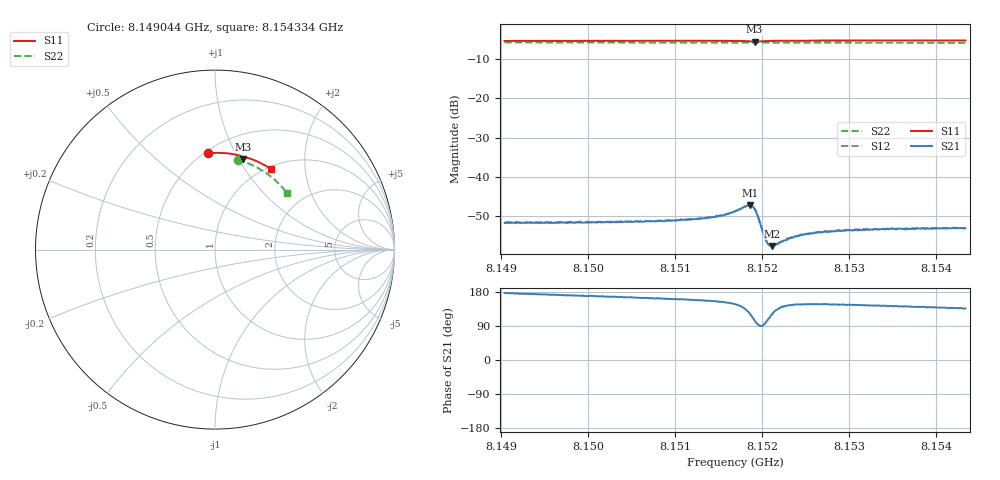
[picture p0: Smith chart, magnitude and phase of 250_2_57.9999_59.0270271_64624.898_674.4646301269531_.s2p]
#  HZ  S  RI  R  50.00
! Rohde & Schwarz Vector Network Analyzer
! Rohde-Schwarz,ZNB20-2Port,1311601062101988,3.16
! Created: UTC 3/21/2024, 1:01:26 AM
! freq[Hz]  re:S11  im:S11  re:S21  im:S21  re:S12  im:S12  re:S22  im:S22
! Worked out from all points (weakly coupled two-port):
!   401 points, 8.149044 GHz to 8.154334 GHz, reference 50 ohm
!   highest |S21| = -47.18 dB at 8.151861 GHz (marker M1); lowest = -57.5 dB at 8.152112 GHz (marker M2)
!   lowest |S11| = -5.5 dB at 8.151914 GHz (marker M3), VSWR 3.24, Z = 37.3 + j52.2 ohm
!   |S11| at or under -10 dB: nowhere
!   |S22| runs from -5.9 to -5.7 dB; largest |S21 - S12| = 0.00013
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8.1490438e9  -0.0371 0.537  -0.0026 0.000132  -0.00265 0.000208  0.1258 0.5004
8.1499298e9  0.0249 0.5392  -0.0026 0.000487  -0.00263 0.000523  0.1806 0.4825
8.1508159e9  0.0867 0.5341  -0.00265 0.000816  -0.00266 0.000882  0.2326 0.4583
8.1513582e9  0.125 0.527  -0.00275 0.0012  -0.00279 0.00128  0.2632 0.441
8.1515169e9  0.1366 0.524  -0.00289 0.00143  -0.0029 0.00147  0.2717 0.4354
8.1516888e9  0.1496 0.5191  -0.00309 0.00197  -0.00311 0.00204  0.2808 0.4293
8.1518078e9  0.1581 0.5121  -0.00295 0.00302  -0.00291 0.00307  0.2871 0.4247
8.1518607e9  0.1592 0.5073  -0.00231 0.00371  -0.00228 0.00378  0.2898 0.4227
8.1518872e9  0.1583 0.5054  -0.0017 0.00393  -0.00168 0.00399  0.2909 0.4217
8.1519136e9  0.1566 0.5046  -0.000967 0.00379  -0.000946 0.00387  0.2922 0.4207
8.1519533e9  0.1547 0.5065  -0.000196 0.00311  -0.000116 0.00314  0.2942 0.4193
8.1520062e9  0.1565 0.5104  -3.95e-05 0.00206  -7.99e-06 0.00205  0.2968 0.4176
8.1520459e9  0.1599 0.5123  -0.000276 0.00152  -0.000273 0.00156  0.2989 0.4161
8.1520723e9  0.1624 0.513  -0.000443 0.00131  -0.000433 0.00136  0.3002 0.4151
8.152112e9  0.1658 0.5134  -0.000679 0.00115  -0.000637 0.00116  0.3023 0.4135
8.1521649e9  0.1705 0.513  -0.000955 0.00105  -0.000933 0.00104  0.3051 0.4116
8.1523633e9  0.1857 0.5099  -0.00143 0.000956  -0.00143 0.00103  0.3151 0.4037
8.1524558e9  0.1924 0.5078  -0.00156 0.00103  -0.00157 0.00104  0.3199 0.3999
8.1525749e9  0.2006 0.505  -0.00162 0.00103  -0.00161 0.00106  0.3258 0.395
8.152879e9  0.2208 0.4972  -0.00174 0.00118  -0.00176 0.00117  0.34 0.3822
8.153461e9  0.2581 0.4803  -0.00173 0.00132  -0.00174 0.00131  0.3664 0.3559
8.1543338e9  0.31 0.4497  -0.00162 0.00156  -0.00163 0.00158  0.4018 0.3133
